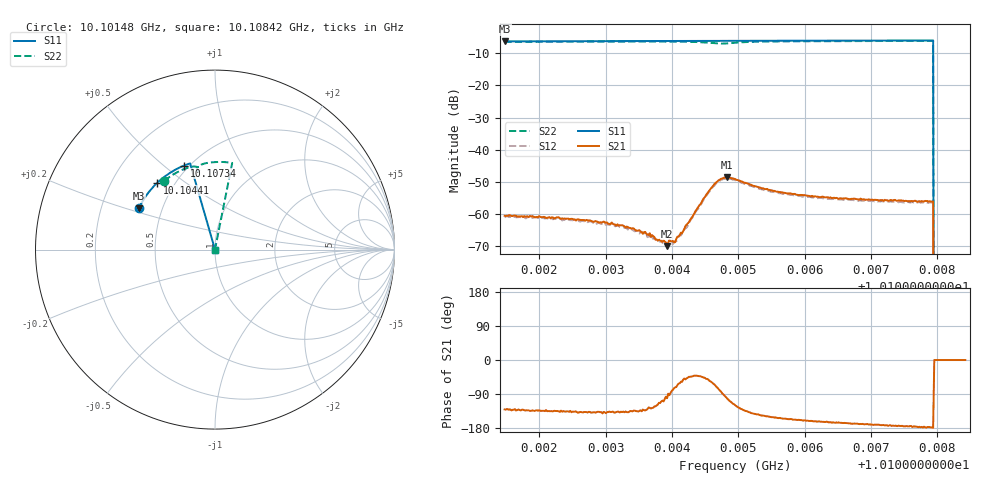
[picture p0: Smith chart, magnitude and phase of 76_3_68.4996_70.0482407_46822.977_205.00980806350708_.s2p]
#  HZ  S  RI  R  50.00
! Rohde & Schwarz Vector Network Analyzer
! Rohde-Schwarz,ZNB20-2Port,1311601062101988,3.16
! Created: UTC 3/20/2024, 5:07:07 PM
! freq[Hz]  re:S11  im:S11  re:S21  im:S21  re:S12  im:S12  re:S22  im:S22
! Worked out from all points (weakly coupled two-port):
!   401 points, 10.10148 GHz to 10.10842 GHz, reference 50 ohm
!   highest |S21| = -48.65 dB at 10.10483 GHz (marker M1); lowest = -70.0 dB at 10.10393 GHz (marker M2)
!   lowest |S11| = -6.3 dB at 10.10148 GHz (marker M3), VSWR 2.87, Z = 18.4 + j11 ohm
!   |S11| at or under -10 dB: 10.10794 GHz to end of sweep
!   |S22| runs from - to -6.2 dB; largest |S21 - S12| = 0.00037
!   S11 on the Smith chart (normalised r, x): 10.10148 GHz: 0.37, +0.22; 10.10441 GHz: 0.40, +0.40; 10.10734 GHz: 0.47, +0.59; 10.10842 GHz: 1.00, +0.00
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1.0101479e10  -0.4251 0.2297  -0.000609 -0.000715  -0.000531 -0.00071  -0.2826 0.3825
1.0102035e10  -0.4096 0.2598  -0.00062 -0.000639  -0.000531 -0.000689  -0.2539 0.4041
1.0102642e10  -0.3901 0.2912  -0.000597 -0.000538  -0.000538 -0.000571  -0.2203 0.4253
1.0103249e10  -0.3684 0.3212  -0.000494 -0.000453  -0.000418 -0.000466  -0.1841 0.4436
1.0103579e10  -0.3557 0.3366  -0.00035 -0.000383  -0.000309 -0.000407  -0.1631 0.4522
1.0103805e10  -0.3467 0.3467  -0.000154 -0.000364  -0.000151 -0.000349  -0.1477 0.4572
1.0103926e10  -0.3416 0.3522  -6.06e-05 -0.000312  -7.54e-06 -0.000352  -0.139 0.4597
1.0104065e10  -0.3357 0.3583  0.00013 -0.000386  0.000162 -0.000338  -0.1285 0.4618
1.0104238e10  -0.3283 0.3658  0.000491 -0.000517  0.00048 -0.000444  -0.1143 0.4629
1.0104412e10  -0.3206 0.3731  0.000996 -0.000922  0.00102 -0.000812  -0.0988 0.4602
1.0104551e10  -0.3145 0.3785  0.00136 -0.00176  0.00145 -0.0016  -0.0882 0.4523
1.0104655e10  -0.3097 0.3828  0.00116 -0.00278  0.00134 -0.00258  -0.0862 0.4428
1.0104742e10  -0.3059 0.3861  0.000366 -0.00351  0.000651 -0.00335  -0.0911 0.4375
1.0104828e10  -0.3019 0.3895  -0.000686 -0.00363  -0.000365 -0.00354  -0.098 0.4395
1.010495e10  -0.2965 0.3943  -0.0017 -0.00306  -0.00138 -0.00306  -0.1005 0.4498
1.0105471e10  -0.2713 0.4135  -0.00204 -0.0012  -0.00185 -0.0013  -0.0678 0.4768
1.0106113e10  -0.2389 0.435  -0.00181 -0.000622  -0.00165 -0.000721  -0.0228 0.4859
1.0107275e10  -0.1761 0.4667  -0.00159 -0.000216  -0.00151 -0.000346  0.0536 0.4875
1.0107345e10  -0.1722 0.4682  -0.00163 -0.000178  -0.00152 -0.000321  0.0582 0.4871
1.01079e10  -0.1407 0.4799  -0.00156 -5.4e-05  -0.0015 -0.000211  0.0938 0.4828
1.0107987e10  0 0  0 0  0 0  0 0
1.0108421e10  0 0  0 0  0 0  0 0
